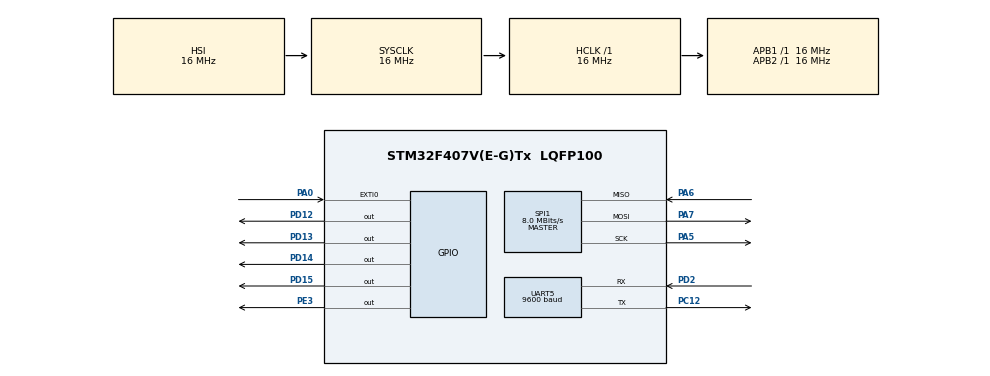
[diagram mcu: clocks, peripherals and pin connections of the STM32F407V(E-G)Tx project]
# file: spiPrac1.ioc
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Mcu.Family=STM32F4
Mcu.Name=STM32F407V(E-G)Tx
Mcu.Package=LQFP100
NVIC.EXTI0_IRQn=true\:0\:0\:false\:false\:true\:true\:true\:true
NVIC.PriorityGroup=NVIC_PRIORITYGROUP_4
PA0-WKUP.Signal=GPXTI0
PA13.Mode=Serial_Wire
PA13.Signal=SYS_JTMS-SWDIO
PA14.Mode=Serial_Wire
PA14.Signal=SYS_JTCK-SWCLK
PA5.Mode=Full_Duplex_Master
PA5.Signal=SPI1_SCK
PA6.Mode=Full_Duplex_Master
PA6.Signal=SPI1_MISO
PA7.Mode=Full_Duplex_Master
PA7.Signal=SPI1_MOSI
PC12.Mode=Asynchronous
PC12.Signal=UART5_TX
PD12.Signal=GPIO_Output
PD13.Signal=GPIO_Output
PD14.Signal=GPIO_Output
PD15.Signal=GPIO_Output
PD2.Mode=Asynchronous
PD2.Signal=UART5_RX
PE3.PinState=GPIO_PIN_SET
PE3.Signal=GPIO_Output
ProjectManager.HeapSize=0x200
ProjectManager.StackSize=0x400
ProjectManager.TargetToolchain=STM32CubeIDE
RCC.AHBFreq_Value=16000000
RCC.APB1Freq_Value=16000000
RCC.APB2Freq_Value=16000000
RCC.CortexFreq_Value=16000000
RCC.HSE_VALUE=25000000
RCC.HSI_VALUE=16000000
RCC.LSE_VALUE=32768
RCC.SYSCLKFreq_VALUE=16000000
RCC.VCOOutputFreq_Value=192000000
SPI1.CalculateBaudRate=8.0 MBits/s
SPI1.Direction=SPI_DIRECTION_2LINES
SPI1.Mode=SPI_MODE_MASTER
SPI1.VirtualType=VM_MASTER
UART5.BaudRate=9600
UART5.VirtualMode=Asynchronous
board=custom

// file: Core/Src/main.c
/* USER CODE BEGIN Header */
/**
  ******************************************************************************
  * @file           : main.c
  * @brief          : Main program body
  ******************************************************************************
  * @attention
  *
  * Copyright (c) 2024 STMicroelectronics.
  * All rights reserved.
  *
  * This software is licensed under terms that can be found in the LICENSE file
  * in the root directory of this software component.
  * If no LICENSE file comes with this software, it is provided AS-IS.
  *
  ******************************************************************************
  */
/* USER CODE END Header */
#include "main.h"

/* USER CODE BEGIN Includes */
#include "string.h"
#include <stdio.h>
/* USER CODE END Includes */

SPI_HandleTypeDef hspi1;

UART_HandleTypeDef huart5;

/* USER CODE BEGIN PV */
char str[50];
uint8_t x, y;
uint8_t buffer[2];

/* USER CODE END PV */

void SystemClock_Config(void);
static void MX_GPIO_Init(void);
static void MX_SPI1_Init(void);
static void MX_UART5_Init(void);

int main(void)
{

  /* MCU Configuration--------------------------------------------------------*/

  /* Reset of all peripherals, Initializes the Flash interface and the Systick. */
  HAL_Init();

  /* Configure the system clock */
  SystemClock_Config();

  /* Initialize all configured peripherals */
  MX_GPIO_Init();
  MX_SPI1_Init();
  MX_UART5_Init();
  /* USER CODE BEGIN 2 */
HAL_GPIO_WritePin(GPIOE, GPIO_PIN_3, 0);
	buffer[0] = 0x20;
	buffer[1] = 0x37;
	HAL_SPI_Transmit(&hspi1, buffer, 2, 10);
HAL_GPIO_WritePin(GPIOE, GPIO_PIN_3, 1);
  /* USER CODE END 2 */

  /* Infinite loop */
  /* USER CODE BEGIN WHILE */
  while (1)
  {
	  HAL_GPIO_WritePin(GPIOE, GPIO_PIN_3, 0);
	  buffer[0] = 0x29 | 0x80;
	  HAL_SPI_Transmit(&hspi1, (uint8_t*)buffer, 1, 10);
	  HAL_SPI_Receive(&hspi1, &x, 1, 10);
	  HAL_GPIO_WritePin(GPIOE, GPIO_PIN_3, 1);

	  HAL_GPIO_WritePin(GPIOE, GPIO_PIN_3, 0);
	  buffer[1] = 0x1B | 0X80;
	  HAL_SPI_Transmit(&hspi1, (uint8_t *)buffer, 1, 10);
	  HAL_SPI_Receive(&hspi1, &y, 1, 10);
	  HAL_GPIO_WritePin(GPIOE, GPIO_PIN_3, 1);

	  if(x <= 20 && y <= 20)
	  {
		  HAL_GPIO_TogglePin(GPIOD, GPIO_PIN_12);
		  HAL_GPIO_TogglePin(GPIOD, GPIO_PIN_13);
		  HAL_GPIO_TogglePin(GPIOD, GPIO_PIN_14);
		  HAL_GPIO_TogglePin(GPIOD, GPIO_PIN_15);
	  }
	  else if(x > 20 && y <= 20)
	  {
		  HAL_GPIO_TogglePin(GPIOD, GPIO_PIN_12);
		  HAL_GPIO_TogglePin(GPIOD, GPIO_PIN_14);
	  }
	  else if(x <= 20 &&  y > 20)
	  {
		  HAL_GPIO_TogglePin(GPIOD, GPIO_PIN_13);
		  HAL_GPIO_TogglePin(GPIOD, GPIO_PIN_15);
	  }
    /* USER CODE END WHILE */

  }
}

void SystemClock_Config(void)
{
  RCC_OscInitTypeDef RCC_OscInitStruct = {0};
  RCC_ClkInitTypeDef RCC_ClkInitStruct = {0};

  /** Configure the main internal regulator output voltage
  */
  __HAL_RCC_PWR_CLK_ENABLE();
  __HAL_PWR_VOLTAGESCALING_CONFIG(PWR_REGULATOR_VOLTAGE_SCALE1);

  /** Initializes the RCC Oscillators according to the specified parameters
  * in the RCC_OscInitTypeDef structure.
  */
  RCC_OscInitStruct.OscillatorType = RCC_OSCILLATORTYPE_HSI;
  RCC_OscInitStruct.HSIState = RCC_HSI_ON;
  RCC_OscInitStruct.HSICalibrationValue = RCC_HSICALIBRATION_DEFAULT;
  RCC_OscInitStruct.PLL.PLLState = RCC_PLL_NONE;
  if (HAL_RCC_OscConfig(&RCC_OscInitStruct) != HAL_OK)
  {
    Error_Handler();
  }

  /** Initializes the CPU, AHB and APB buses clocks
  */
  RCC_ClkInitStruct.ClockType = RCC_CLOCKTYPE_HCLK|RCC_CLOCKTYPE_SYSCLK
                              |RCC_CLOCKTYPE_PCLK1|RCC_CLOCKTYPE_PCLK2;
  RCC_ClkInitStruct.SYSCLKSource = RCC_SYSCLKSOURCE_HSI;
  RCC_ClkInitStruct.AHBCLKDivider = RCC_SYSCLK_DIV1;
  RCC_ClkInitStruct.APB1CLKDivider = RCC_HCLK_DIV1;
  RCC_ClkInitStruct.APB2CLKDivider = RCC_HCLK_DIV1;

  if (HAL_RCC_ClockConfig(&RCC_ClkInitStruct, FLASH_LATENCY_0) != HAL_OK)
  {
    Error_Handler();
  }
}

static void MX_SPI1_Init(void)
{

  /* SPI1 parameter configuration*/
  hspi1.Instance = SPI1;
  hspi1.Init.Mode = SPI_MODE_MASTER;
  hspi1.Init.Direction = SPI_DIRECTION_2LINES;
  hspi1.Init.DataSize = SPI_DATASIZE_8BIT;
  hspi1.Init.CLKPolarity = SPI_POLARITY_LOW;
  hspi1.Init.CLKPhase = SPI_PHASE_1EDGE;
  hspi1.Init.NSS = SPI_NSS_SOFT;
  hspi1.Init.BaudRatePrescaler = SPI_BAUDRATEPRESCALER_2;
  hspi1.Init.FirstBit = SPI_FIRSTBIT_MSB;
  hspi1.Init.TIMode = SPI_TIMODE_DISABLE;
  hspi1.Init.CRCCalculation = SPI_CRCCALCULATION_DISABLE;
  hspi1.Init.CRCPolynomial = 10;
  if (HAL_SPI_Init(&hspi1) != HAL_OK)
  {
    Error_Handler();
  }

}

static void MX_UART5_Init(void)
{

  huart5.Instance = UART5;
  huart5.Init.BaudRate = 9600;
  huart5.Init.WordLength = UART_WORDLENGTH_8B;
  huart5.Init.StopBits = UART_STOPBITS_1;
  huart5.Init.Parity = UART_PARITY_NONE;
  huart5.Init.Mode = UART_MODE_TX_RX;
  huart5.Init.HwFlowCtl = UART_HWCONTROL_NONE;
  huart5.Init.OverSampling = UART_OVERSAMPLING_16;
  if (HAL_UART_Init(&huart5) != HAL_OK)
  {
    Error_Handler();
  }

}

static void MX_GPIO_Init(void)
{
  GPIO_InitTypeDef GPIO_InitStruct = {0};

  /* GPIO Ports Clock Enable */
  __HAL_RCC_GPIOE_CLK_ENABLE();
  __HAL_RCC_GPIOA_CLK_ENABLE();
  __HAL_RCC_GPIOD_CLK_ENABLE();
  __HAL_RCC_GPIOC_CLK_ENABLE();

  /*Configure GPIO pin Output Level */
  HAL_GPIO_WritePin(GPIOE, GPIO_PIN_3, GPIO_PIN_SET);

  /*Configure GPIO pin Output Level */
  HAL_GPIO_WritePin(GPIOD, GPIO_PIN_12|GPIO_PIN_13|GPIO_PIN_14|GPIO_PIN_15, GPIO_PIN_RESET);

  /*Configure GPIO pin : PE3 */
  GPIO_InitStruct.Pin = GPIO_PIN_3;
  GPIO_InitStruct.Mode = GPIO_MODE_OUTPUT_PP;
  GPIO_InitStruct.Pull = GPIO_NOPULL;
  GPIO_InitStruct.Speed = GPIO_SPEED_FREQ_LOW;
  HAL_GPIO_Init(GPIOE, &GPIO_InitStruct);

  /*Configure GPIO pin : PA0 */
  GPIO_InitStruct.Pin = GPIO_PIN_0;
  GPIO_InitStruct.Mode = GPIO_MODE_IT_RISING;
  GPIO_InitStruct.Pull = GPIO_NOPULL;
  HAL_GPIO_Init(GPIOA, &GPIO_InitStruct);

  /*Configure GPIO pins : PD12 PD13 PD14 PD15 */
  GPIO_InitStruct.Pin = GPIO_PIN_12|GPIO_PIN_13|GPIO_PIN_14|GPIO_PIN_15;
  GPIO_InitStruct.Mode = GPIO_MODE_OUTPUT_PP;
  GPIO_InitStruct.Pull = GPIO_NOPULL;
  GPIO_InitStruct.Speed = GPIO_SPEED_FREQ_LOW;
  HAL_GPIO_Init(GPIOD, &GPIO_InitStruct);

  /* EXTI interrupt init*/
  HAL_NVIC_SetPriority(EXTI0_IRQn, 0, 0);
  HAL_NVIC_EnableIRQ(EXTI0_IRQn);

}

/* USER CODE BEGIN 4 */
void HAL_GPIO_EXTI_Callback(uint16_t GPIO_Pin)
{
  HAL_UART_DeInit(&huart5);

  huart5.Init.BaudRate = 57600;
  HAL_UART_Init(&huart5);
  sprintf(str, "x = %d y = %d\r\n", x, y);
  HAL_UART_Transmit(&huart5, (uint8_t *)str, strlen(str), 10);

}
/* USER CODE END 4 */

void Error_Handler(void)
{
  __disable_irq();
  while (1)
  {
  }
}
